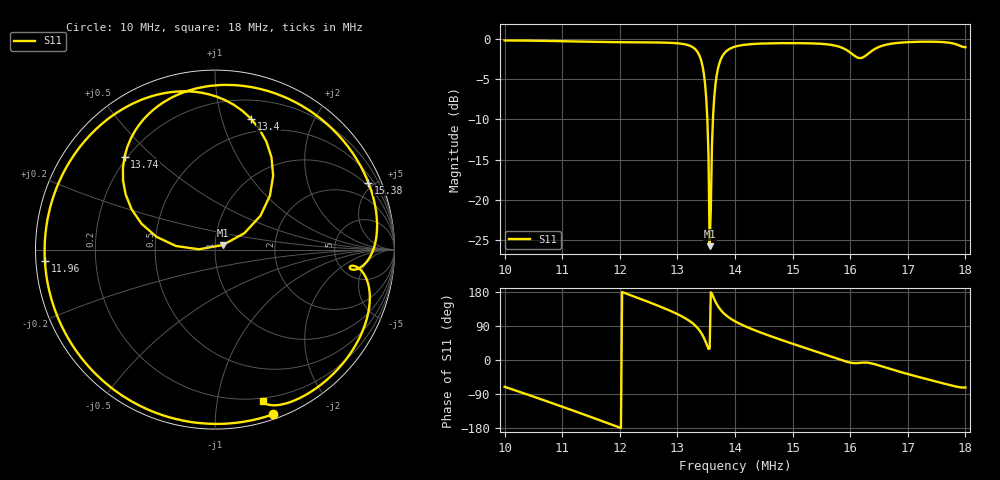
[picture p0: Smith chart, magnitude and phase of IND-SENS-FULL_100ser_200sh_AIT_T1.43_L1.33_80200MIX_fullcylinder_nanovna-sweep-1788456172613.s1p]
! NanoVNA Web complex sweep
! Processing: original sample grid, no browser smoothing
# Hz S RI R 50
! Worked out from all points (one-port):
!   401 points, 10 MHz to 18 MHz, reference 50 ohm
!   lowest |S11| = -25.7 dB at 13.56 MHz (marker M1), VSWR 1.11, Z = 54.6 + j2.84 ohm
!   |S11| at or under -10 dB: 13.52 MHz to 13.62 MHz (97.45 kHz wide, 0.718 % of centre)
!   S11 on the Smith chart (normalised r, x): 10 MHz: 0.04, -1.41; 11.96 MHz: 0.03, -0.03; 13.4 MHz: 0.37, +1.25; 13.74 MHz: 0.19, +0.41; 15.38 MHz: 0.81, +4.65; 18 MHz: 0.17, -1.35
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1e7  0.3225 -0.9185
1.05e7  -0.1111 -0.9636
1.1e7  -0.5282 -0.8057
1.15e7  -0.832 -0.4698
1.196e7  -0.9477 -0.0638
1.2e7  -0.9493 -0.0266
1.252e7  -0.8346 0.4469
1.3e7  -0.4835 0.8006
1.326e7  -0.115 0.8793
1.34e7  0.2007 0.7293
1.348e7  0.3241 0.412
1.354e7  0.1639 0.0917
1.356e7  0.0448 0.026
1.36e7  -0.2173 0.0199
1.366e7  -0.4653 0.2256
1.374e7  -0.5039 0.5178
1.386e7  -0.3687 0.7563
1.4e7  -0.1875 0.8713
1.442e7  0.257 0.8937
1.5e7  0.6874 0.6376
1.538e7  0.8543 0.3734
1.572e7  0.9018 0.0989
1.6e7  0.8121 -0.0982
1.634e7  0.8128 -0.1141
1.662e7  0.8599 -0.3151
1.7e7  0.7582 -0.5727
1.76e7  0.4601 -0.8328
1.8e7  0.2648 -0.8447
